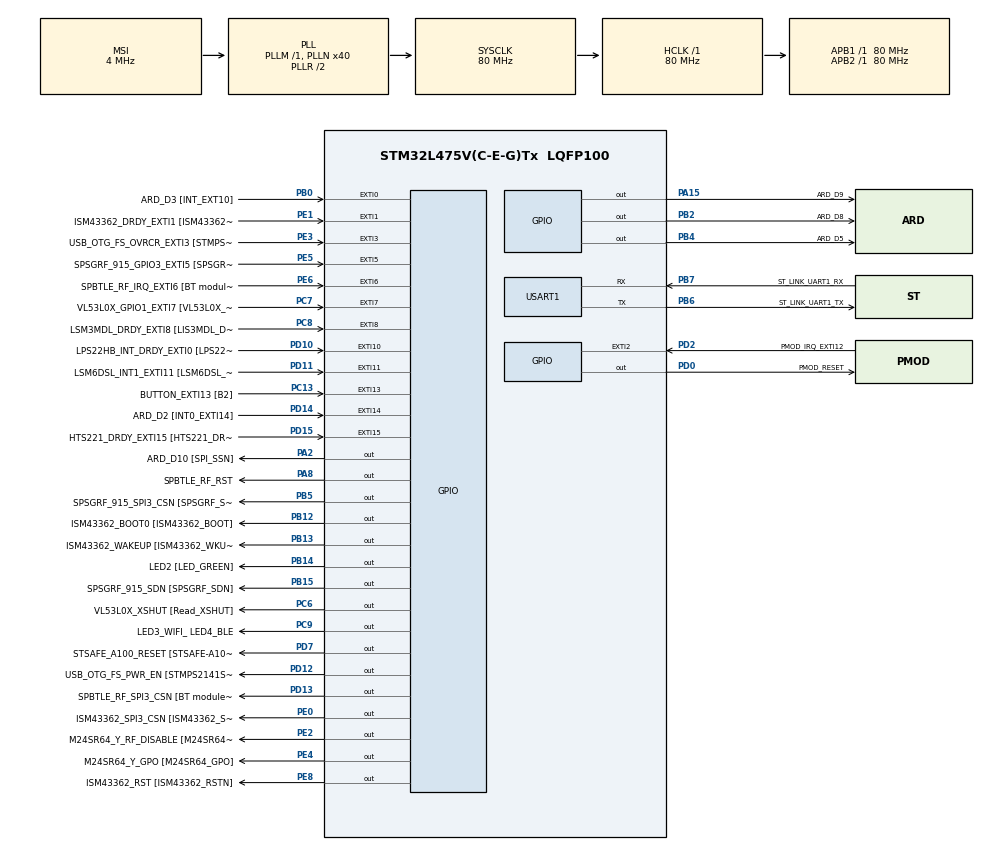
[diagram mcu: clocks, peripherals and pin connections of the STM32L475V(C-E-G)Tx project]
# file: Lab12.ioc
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FREERTOS.CountingSemaphores01=myCountingSem,5,Dynamic,NULL
FREERTOS.Tasks01=PeriodT,-1,128,PeriodThread,Default,NULL,Dynamic,NULL,NULL;Handler,1,128,HandlerThread,Default,NULL,Dynamic,NULL,NULL
FREERTOS.configUSE_COUNTING_SEMAPHORES=1
Mcu.Family=STM32L4
Mcu.Name=STM32L475V(C-E-G)Tx
Mcu.Package=LQFP100
NVIC.EXTI15_10_IRQn=true\:5\:0\:false\:false\:true\:true\:true\:true
NVIC.EXTI9_5_IRQn=true\:5\:0\:false\:false\:true\:true\:true\:true
NVIC.PriorityGroup=NVIC_PRIORITYGROUP_4
PA0.GPIO_Label=ARD_D1 [UART4_TX]
PA0.Signal=UART4_TX
PA1.GPIO_Label=ARD_D0 [UART4_RX]
PA1.Signal=UART4_RX
PA10.GPIO_Label=USB_OTG_FS_ID
PA10.Signal=USB_OTG_FS_ID
PA11.GPIO_Label=USB_OTG_FS_DM
PA11.Signal=USB_OTG_FS_DM
PA12.GPIO_Label=USB_OTG_FS_DP
PA12.Signal=USB_OTG_FS_DP
PA13\ (JTMS-SWDIO).GPIO_Label=SYS_JTMS_SWDIO
PA13\ (JTMS-SWDIO).Mode=Serial_Wire
PA13\ (JTMS-SWDIO).Signal=SYS_JTMS-SWDIO
PA14\ (JTCK-SWCLK).GPIO_Label=SYS_JTCK_SWCLK
PA14\ (JTCK-SWCLK).Mode=Serial_Wire
PA14\ (JTCK-SWCLK).Signal=SYS_JTCK-SWCLK
PA15\ (JTDI).GPIO_Label=ARD_D9
PA15\ (JTDI).Signal=GPIO_Output
PA2.GPIO_Label=ARD_D10 [SPI_SSN]
PA2.Signal=GPIO_Output
PA3.GPIO_Label=ARD_D4
PA3.Signal=S_TIM2_CH4
PA4.GPIO_Label=ARD_D7
PA4.Signal=ADCx_IN9
PA5.GPIO_Label=ARD_D13 [SPI1_SCK]
PA5.Signal=SPI1_SCK
PA6.GPIO_Label=ARD_D12 [SPI1_MISO]
PA6.Signal=SPI1_MISO
PA7.GPIO_Label=ARD_D11 [SPI1_MOSI]
PA7.Signal=SPI1_MOSI
PA8.GPIO_Label=SPBTLE_RF_RST
PA8.Signal=GPIO_Output
PA9.GPIO_Label=USB_OTG_FS_VBUS [STMPS2141STR_OUT]
PA9.Signal=USB_OTG_FS_VBUS
PB0.GPIO_Label=ARD_D3 [INT_EXT10]
PB0.Signal=GPXTI0
PB1.GPIO_Label=ARD_D6 [ADC1_IN6]
PB1.Signal=ADCx_IN16
PB10.GPIO_Label=INTERNAL_I2C2_SCL [VL53L0X_SCL]
PB10.Signal=I2C2_SCL
PB11.GPIO_Label=INTERNAL_I2C2_SDA [VL53L0X_SDA]
PB11.Signal=I2C2_SDA
PB12.GPIO_Label=ISM43362_BOOT0 [ISM43362_BOOT]
PB12.Signal=GPIO_Output
PB13.GPIO_Label=ISM43362_WAKEUP [ISM43362_WKUP]
PB13.Signal=GPIO_Output
PB14.GPIO_Label=LED2 [LED_GREEN]
PB14.Signal=GPIO_Output
PB15.GPIO_Label=SPSGRF_915_SDN [SPSGRF_SDN]
PB15.Signal=GPIO_Output
PB2.GPIO_Label=ARD_D8
PB2.Signal=GPIO_Output
PB3\ (JTDO-TRACESWO).GPIO_Label=SYS_JTD0_SWO
PB3\ (JTDO-TRACESWO).Signal=SYS_JTDO-SWO
PB4\ (NJTRST).GPIO_Label=ARD_D5
PB4\ (NJTRST).Signal=GPIO_Output
PB5.GPIO_Label=SPSGRF_915_SPI3_CSN [SPSGRF_SPI_CS]
PB5.PinState=GPIO_PIN_SET
PB5.Signal=GPIO_Output
PB6.GPIO_Label=ST_LINK_UART1_TX
PB6.Mode=Asynchronous
PB6.Signal=USART1_TX
PB7.GPIO_Label=ST_LINK_UART1_RX
PB7.Mode=Asynchronous
PB7.Signal=USART1_RX
PB8.GPIO_Label=ARD_D15 [I2C1_SCL]
PB8.Signal=I2C1_SCL
PB9.GPIO_Label=ARD_D14 [I2C1_SDA]
PB9.Signal=I2C1_SDA
PC0.GPIO_Label=ARD_A5 [ADC]
PC0.Signal=ADCx_IN1
PC1.GPIO_Label=ARD_A4 [ADC]
PC1.Signal=ADCx_IN2
PC10.GPIO_Label=INTERNAL_SPI3_SCK [BT module_SPI_SCLK] [ISM43362_SCK]
PC10.Signal=SPI3_SCK
PC11.GPIO_Label=INTERNAL_SPI3_MISO [BT module_SPI_MISO] [ISM43362_MISO]
PC11.Signal=SPI3_MISO
PC12.GPIO_Label=INTERNAL_SPI3_MOSI [BT module_SPI_MOSI] [ISM43362_MOSI]
PC12.Signal=SPI3_MOSI
PC13.GPIO_Label=BUTTON_EXTI13 [B2]
PC13.GPIO_ModeDefaultEXTI=GPIO_MODE_IT_FALLING
PC13.Signal=GPXTI13
PC14-OSC32_IN\ (PC14).Signal=RCC_OSC32_IN
PC15-OSC32_OUT\ (PC15).Signal=RCC_OSC32_OUT
PC2.GPIO_Label=ARD_A3 [ADC]
PC2.Signal=ADCx_IN3
PC3.GPIO_Label=ARD_A2 [ADC]
PC3.Signal=ADCx_IN4
PC4.GPIO_Label=ARD_A1 [ADC]
PC4.Signal=ADCx_IN13
PC5.GPIO_Label=ARD_A0 [ADC]
PC5.Signal=ADCx_IN14
PC6.GPIO_Label=VL53L0X_XSHUT [Read_XSHUT]
PC6.Signal=GPIO_Output
PC7.GPIO_Label=VL53L0X_GPIO1_EXTI7 [VL53L0X_GPIO1]
PC7.Signal=GPXTI7
PC8.GPIO_Label=LSM3MDL_DRDY_EXTI8 [LIS3MDL_DRDY]
PC8.Signal=GPXTI8
PC9.GPIO_Label=LED3_WIFI_ LED4_BLE
PC9.Signal=GPIO_Output
PD0.GPIO_Label=PMOD_RESET
PD0.Signal=GPIO_Output
PD1.GPIO_Label=PMOD_SPI2_SCK
PD1.Signal=SPI2_SCK
PD10.GPIO_Label=LPS22HB_INT_DRDY_EXTI0 [LPS22HB_INT_DRDY] 
PD10.Signal=GPXTI10
PD11.GPIO_Label=LSM6DSL_INT1_EXTI11 [LSM6DSL_INT1]
PD11.Signal=GPXTI11
PD12.GPIO_Label=USB_OTG_FS_PWR_EN [STMPS2141STR_EN]
PD12.Signal=GPIO_Output
PD13.GPIO_Label=SPBTLE_RF_SPI3_CSN [BT module_SPI_CS]
PD13.PinState=GPIO_PIN_SET
PD13.Signal=GPIO_Output
PD14.GPIO_Label=ARD_D2 [INT0_EXTI14]
PD14.Signal=GPXTI14
PD15.GPIO_Label=HTS221_DRDY_EXTI15 [HTS221_DRDY]
PD15.Signal=GPXTI15
PD2.GPIO_Label=PMOD_IRQ_EXTI12
PD2.Signal=GPXTI2
PD3.GPIO_Label=PMOD_UART2_CTS
PD3.Signal=USART2_CTS
PD4.GPIO_Label=PMOD_UART2_RTS
PD4.Signal=USART2_RTS
PD5.GPIO_Label=PMOD_UART2_TX
PD5.Signal=USART2_TX
PD6.GPIO_Label=PMOD_UART2_RX
PD6.Signal=USART2_RX
PD7.GPIO_Label=STSAFE_A100_RESET [STSAFE-A100_RESET]
PD7.Signal=GPIO_Output
PD8.GPIO_Label=INTERNAL_UART3_TX [ISM43362_RX]
PD8.Signal=USART3_TX
PD9.GPIO_Label=INTERNAL_UART3_RX [ISM43362_TX]
PD9.Signal=USART3_RX
PE0.GPIO_Label=ISM43362_SPI3_CSN [ISM43362_SSN]
PE0.PinState=GPIO_PIN_SET
PE0.Signal=GPIO_Output
PE1.GPIO_Label=ISM43362_DRDY_EXTI1 [ISM43362_DATARDY]
PE1.Signal=GPXTI1
PE10.GPIO_Label=QUADSPI_CLK [MX25R6435F_SCLK]
PE10.Signal=QUADSPI_CLK
PE11.GPIO_Label=QUADSPI_NCS [MX25R6435F_SCLK]
PE11.Signal=QUADSPI_NCS
PE12.GPIO_Label=OQUADSPI_BK1_IO0 [MX25R6435F_IO0]
PE12.Signal=QUADSPI_BK1_IO0
PE13.GPIO_Label=QUADSPI_BK1_IO1 [MX25R6435F_IO1]
PE13.Signal=QUADSPI_BK1_IO1
PE14.GPIO_Label=QUAD_SPI_BK1_IO2 [MX25R6435F_IO2]
PE14.Signal=QUADSPI_BK1_IO2
PE15.GPIO_Label=QUAD_SPI_BK1_IO3 [MX25R6435F_IO3]
PE15.Signal=QUADSPI_BK1_IO3
PE2.GPIO_Label=M24SR64_Y_RF_DISABLE [M24SR64_RFDIS]
PE2.Signal=GPIO_Output
PE3.GPIO_Label=USB_OTG_FS_OVRCR_EXTI3 [STMPS2141STR_FAULT]
PE3.Signal=GPXTI3
PE4.GPIO_Label=M24SR64_Y_GPO [M24SR64_GPO]
PE4.Signal=GPIO_Output
PE5.GPIO_Label=SPSGRF_915_GPIO3_EXTI5 [SPSGRF_GPIO_3]
PE5.Signal=GPXTI5
PE6.GPIO_Label=SPBTLE_RF_IRQ_EXTI6 [BT module_SPI_IRQ]
PE6.Signal=GPXTI6
PE7.GPIO_Label=DFSDM1_DATIN2 [MP34DT01_DOUT]
PE7.Signal=S_DATAIN2DFSDM1
PE8.GPIO_Label=ISM43362_RST [ISM43362_RSTN]
PE8.Signal=GPIO_Output
PE9.GPIO_Label=DFSDM1_CKOUT [MP34DT01_CLK]
PE9.Signal=S_CKOUTDFSDM1
ProjectManager.HeapSize=0x200
ProjectManager.StackSize=0x400
ProjectManager.TargetToolchain=MDK-ARM V5.27
RCC.ADCFreq_Value=48000000
RCC.AHBFreq_Value=80000000
RCC.APB1Freq_Value=80000000
RCC.APB1TimFreq_Value=80000000
RCC.APB2Freq_Value=80000000
RCC.APB2TimFreq_Value=80000000
RCC.CortexFreq_Value=80000000
RCC.HCLKFreq_Value=80000000
RCC.HSE_VALUE=8000000
RCC.HSI_VALUE=16000000
RCC.LSE_VALUE=32768
RCC.MSI_VALUE=4000000
RCC.PLLN=40
RCC.PLLSAI1N=24
RCC.SYSCLKFreq_VALUE=80000000
RCC.SYSCLKSource=RCC_SYSCLKSOURCE_PLLCLK
RCC.USBFreq_Value=48000000
RCC.VCOOutputFreq_Value=160000000
SH.ADCx_IN1.0=ADC1_IN1
SH.ADCx_IN13.0=ADC1_IN13
SH.ADCx_IN14.0=ADC1_IN14
SH.ADCx_IN16.0=ADC1_IN16
SH.ADCx_IN2.0=ADC1_IN2
SH.ADCx_IN3.0=ADC1_IN3
SH.ADCx_IN4.0=ADC1_IN4
SH.ADCx_IN9.0=ADC1_IN9
SH.S_CKOUTDFSDM1.0=DFSDM1_CKOUT
SH.S_DATAIN2DFSDM1.0=DFSDM1_DATIN2
SH.S_TIM2_CH4.0=TIM2_CH4
USART1.VirtualMode-Asynchronous=VM_ASYNC
VP_FREERTOS_VS_CMSIS_V1.Mode=CMSIS_V1
board=B-L475E-IOT01A1

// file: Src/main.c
/* USER CODE BEGIN Header */
/**
  ******************************************************************************
  * @file           : main.c
  * @brief          : Main program body
  ******************************************************************************
  * @attention
  *
  * <h2><center>&copy; Copyright (c) 2020 STMicroelectronics.
  * All rights reserved.</center></h2>
  *
  * This software component is licensed by ST under Ultimate Liberty license
  * SLA0044, the "License"; You may not use this file except in compliance with
  * the License. You may obtain a copy of the License at:
  *                             www.st.com/SLA0044
  *
  ******************************************************************************
  */
/* USER CODE END Header */

#include "main.h"
#include "cmsis_os.h"

/* USER CODE BEGIN Includes */
#include "stdio.h"
/* USER CODE END Includes */

UART_HandleTypeDef huart1;

osThreadId PeriodTHandle;
osThreadId HandlerHandle;
osSemaphoreId myBinarySemHandle;

void SystemClock_Config(void);
static void MX_GPIO_Init(void);
static void MX_USART1_UART_Init(void);
void PeriodThread(void const * argument);
void HandlerThread(void const * argument);

/* USER CODE BEGIN PFP */
#ifdef __GNUC__
#define PUTCHAR_PROTOTYPE int __io_putchar(int ch)
#else
#define PUTCHAR_PROTOTYPE int fputc(int ch, FILE *f)
#endif /* __GNUC__ */
/* USER CODE END PFP */

/* USER CODE BEGIN 0 */
PUTCHAR_PROTOTYPE
{
  /* e.g. write a character to the USART1 and Loop until the end of transmission */
  HAL_UART_Transmit(&huart1, (uint8_t *)&ch, 1, 0xFFFF);

  return ch;
}
/* USER CODE END 0 */

int main(void)
{

  /* MCU Configuration--------------------------------------------------------*/

  /* Reset of all peripherals, Initializes the Flash interface and the Systick. */
  HAL_Init();

  /* Configure the system clock */
  SystemClock_Config();

  /* Initialize all configured peripherals */
  MX_GPIO_Init();
  MX_USART1_UART_Init();
  /* USER CODE BEGIN 2 */
	printf("\n\rFreeRTOS Lab 12\n\r");
  /* USER CODE END 2 */

  /* Create the semaphores(s) */
  /* definition and creation of myBinarySem */
  osSemaphoreDef(myBinarySem);
  myBinarySemHandle = osSemaphoreCreate(osSemaphore(myBinarySem), 1);

  /* Create the thread(s) */
  /* definition and creation of PeriodT */
  osThreadDef(PeriodT, PeriodThread, osPriorityBelowNormal, 0, 128);
  PeriodTHandle = osThreadCreate(osThread(PeriodT), NULL);

  /* definition and creation of Handler */
  osThreadDef(Handler, HandlerThread, osPriorityAboveNormal, 0, 128);
  HandlerHandle = osThreadCreate(osThread(Handler), NULL);

  /* Start scheduler */
  osKernelStart();

  /* We should never get here as control is now taken by the scheduler */
  /* Infinite loop */
  while (1)
  {

  }
}

void SystemClock_Config(void)
{
  RCC_OscInitTypeDef RCC_OscInitStruct = {0};
  RCC_ClkInitTypeDef RCC_ClkInitStruct = {0};
  RCC_PeriphCLKInitTypeDef PeriphClkInit = {0};

  /** Initializes the CPU, AHB and APB busses clocks
  */
  RCC_OscInitStruct.OscillatorType = RCC_OSCILLATORTYPE_MSI;
  RCC_OscInitStruct.MSIState = RCC_MSI_ON;
  RCC_OscInitStruct.MSICalibrationValue = 0;
  RCC_OscInitStruct.MSIClockRange = RCC_MSIRANGE_6;
  RCC_OscInitStruct.PLL.PLLState = RCC_PLL_ON;
  RCC_OscInitStruct.PLL.PLLSource = RCC_PLLSOURCE_MSI;
  RCC_OscInitStruct.PLL.PLLM = 1;
  RCC_OscInitStruct.PLL.PLLN = 40;
  RCC_OscInitStruct.PLL.PLLP = RCC_PLLP_DIV7;
  RCC_OscInitStruct.PLL.PLLQ = RCC_PLLQ_DIV2;
  RCC_OscInitStruct.PLL.PLLR = RCC_PLLR_DIV2;
  if (HAL_RCC_OscConfig(&RCC_OscInitStruct) != HAL_OK)
  {
    Error_Handler();
  }
  /** Initializes the CPU, AHB and APB busses clocks
  */
  RCC_ClkInitStruct.ClockType = RCC_CLOCKTYPE_HCLK|RCC_CLOCKTYPE_SYSCLK
                              |RCC_CLOCKTYPE_PCLK1|RCC_CLOCKTYPE_PCLK2;
  RCC_ClkInitStruct.SYSCLKSource = RCC_SYSCLKSOURCE_PLLCLK;
  RCC_ClkInitStruct.AHBCLKDivider = RCC_SYSCLK_DIV1;
  RCC_ClkInitStruct.APB1CLKDivider = RCC_HCLK_DIV1;
  RCC_ClkInitStruct.APB2CLKDivider = RCC_HCLK_DIV1;

  if (HAL_RCC_ClockConfig(&RCC_ClkInitStruct, FLASH_LATENCY_4) != HAL_OK)
  {
    Error_Handler();
  }
  PeriphClkInit.PeriphClockSelection = RCC_PERIPHCLK_USART1;
  PeriphClkInit.Usart1ClockSelection = RCC_USART1CLKSOURCE_PCLK2;
  if (HAL_RCCEx_PeriphCLKConfig(&PeriphClkInit) != HAL_OK)
  {
    Error_Handler();
  }
  /** Configure the main internal regulator output voltage
  */
  if (HAL_PWREx_ControlVoltageScaling(PWR_REGULATOR_VOLTAGE_SCALE1) != HAL_OK)
  {
    Error_Handler();
  }
}

static void MX_USART1_UART_Init(void)
{

  huart1.Instance = USART1;
  huart1.Init.BaudRate = 115200;
  huart1.Init.WordLength = UART_WORDLENGTH_8B;
  huart1.Init.StopBits = UART_STOPBITS_1;
  huart1.Init.Parity = UART_PARITY_NONE;
  huart1.Init.Mode = UART_MODE_TX_RX;
  huart1.Init.HwFlowCtl = UART_HWCONTROL_NONE;
  huart1.Init.OverSampling = UART_OVERSAMPLING_16;
  huart1.Init.OneBitSampling = UART_ONE_BIT_SAMPLE_DISABLE;
  huart1.AdvancedInit.AdvFeatureInit = UART_ADVFEATURE_NO_INIT;
  if (HAL_UART_Init(&huart1) != HAL_OK)
  {
    Error_Handler();
  }

}

static void MX_GPIO_Init(void)
{
  GPIO_InitTypeDef GPIO_InitStruct = {0};

  /* GPIO Ports Clock Enable */
  __HAL_RCC_GPIOE_CLK_ENABLE();
  __HAL_RCC_GPIOC_CLK_ENABLE();
  __HAL_RCC_GPIOA_CLK_ENABLE();
  __HAL_RCC_GPIOB_CLK_ENABLE();
  __HAL_RCC_GPIOD_CLK_ENABLE();

  /*Configure GPIO pin Output Level */
  HAL_GPIO_WritePin(GPIOE, M24SR64_Y_RF_DISABLE_Pin|M24SR64_Y_GPO_Pin|ISM43362_RST_Pin, GPIO_PIN_RESET);

  /*Configure GPIO pin Output Level */
  HAL_GPIO_WritePin(GPIOA, ARD_D10_Pin|SPBTLE_RF_RST_Pin|ARD_D9_Pin, GPIO_PIN_RESET);

  /*Configure GPIO pin Output Level */
  HAL_GPIO_WritePin(GPIOB, ARD_D8_Pin|ISM43362_BOOT0_Pin|ISM43362_WAKEUP_Pin|LED2_Pin
                          |SPSGRF_915_SDN_Pin|ARD_D5_Pin, GPIO_PIN_RESET);

  /*Configure GPIO pin Output Level */
  HAL_GPIO_WritePin(GPIOD, USB_OTG_FS_PWR_EN_Pin|PMOD_RESET_Pin|STSAFE_A100_RESET_Pin, GPIO_PIN_RESET);

  /*Configure GPIO pin Output Level */
  HAL_GPIO_WritePin(SPBTLE_RF_SPI3_CSN_GPIO_Port, SPBTLE_RF_SPI3_CSN_Pin, GPIO_PIN_SET);

  /*Configure GPIO pin Output Level */
  HAL_GPIO_WritePin(GPIOC, VL53L0X_XSHUT_Pin|LED3_WIFI__LED4_BLE_Pin, GPIO_PIN_RESET);

  /*Configure GPIO pin Output Level */
  HAL_GPIO_WritePin(SPSGRF_915_SPI3_CSN_GPIO_Port, SPSGRF_915_SPI3_CSN_Pin, GPIO_PIN_SET);

  /*Configure GPIO pin Output Level */
  HAL_GPIO_WritePin(ISM43362_SPI3_CSN_GPIO_Port, ISM43362_SPI3_CSN_Pin, GPIO_PIN_SET);

  /*Configure GPIO pins : M24SR64_Y_RF_DISABLE_Pin M24SR64_Y_GPO_Pin ISM43362_RST_Pin ISM43362_SPI3_CSN_Pin */
  GPIO_InitStruct.Pin = M24SR64_Y_RF_DISABLE_Pin|M24SR64_Y_GPO_Pin|ISM43362_RST_Pin|ISM43362_SPI3_CSN_Pin;
  GPIO_InitStruct.Mode = GPIO_MODE_OUTPUT_PP;
  GPIO_InitStruct.Pull = GPIO_NOPULL;
  GPIO_InitStruct.Speed = GPIO_SPEED_FREQ_LOW;
  HAL_GPIO_Init(GPIOE, &GPIO_InitStruct);

  /*Configure GPIO pins : USB_OTG_FS_OVRCR_EXTI3_Pin SPSGRF_915_GPIO3_EXTI5_Pin SPBTLE_RF_IRQ_EXTI6_Pin ISM43362_DRDY_EXTI1_Pin */
  GPIO_InitStruct.Pin = USB_OTG_FS_OVRCR_EXTI3_Pin|SPSGRF_915_GPIO3_EXTI5_Pin|SPBTLE_RF_IRQ_EXTI6_Pin|ISM43362_DRDY_EXTI1_Pin;
  GPIO_InitStruct.Mode = GPIO_MODE_IT_RISING;
  GPIO_InitStruct.Pull = GPIO_NOPULL;
  HAL_GPIO_Init(GPIOE, &GPIO_InitStruct);

  /*Configure GPIO pin : BUTTON_EXTI13_Pin */
  GPIO_InitStruct.Pin = BUTTON_EXTI13_Pin;
  GPIO_InitStruct.Mode = GPIO_MODE_IT_FALLING;
  GPIO_InitStruct.Pull = GPIO_NOPULL;
  HAL_GPIO_Init(BUTTON_EXTI13_GPIO_Port, &GPIO_InitStruct);

  /*Configure GPIO pins : ARD_A5_Pin ARD_A4_Pin ARD_A3_Pin ARD_A2_Pin
                           ARD_A1_Pin ARD_A0_Pin */
  GPIO_InitStruct.Pin = ARD_A5_Pin|ARD_A4_Pin|ARD_A3_Pin|ARD_A2_Pin
                          |ARD_A1_Pin|ARD_A0_Pin;
  GPIO_InitStruct.Mode = GPIO_MODE_ANALOG_ADC_CONTROL;
  GPIO_InitStruct.Pull = GPIO_NOPULL;
  HAL_GPIO_Init(GPIOC, &GPIO_InitStruct);

  /*Configure GPIO pins : ARD_D1_Pin ARD_D0_Pin */
  GPIO_InitStruct.Pin = ARD_D1_Pin|ARD_D0_Pin;
  GPIO_InitStruct.Mode = GPIO_MODE_AF_PP;
  GPIO_InitStruct.Pull = GPIO_NOPULL;
  GPIO_InitStruct.Speed = GPIO_SPEED_FREQ_VERY_HIGH;
  GPIO_InitStruct.Alternate = GPIO_AF8_UART4;
  HAL_GPIO_Init(GPIOA, &GPIO_InitStruct);

  /*Configure GPIO pins : ARD_D10_Pin SPBTLE_RF_RST_Pin ARD_D9_Pin */
  GPIO_InitStruct.Pin = ARD_D10_Pin|SPBTLE_RF_RST_Pin|ARD_D9_Pin;
  GPIO_InitStruct.Mode = GPIO_MODE_OUTPUT_PP;
  GPIO_InitStruct.Pull = GPIO_NOPULL;
  GPIO_InitStruct.Speed = GPIO_SPEED_FREQ_LOW;
  HAL_GPIO_Init(GPIOA, &GPIO_InitStruct);

  /*Configure GPIO pin : ARD_D4_Pin */
  GPIO_InitStruct.Pin = ARD_D4_Pin;
  GPIO_InitStruct.Mode = GPIO_MODE_AF_PP;
  GPIO_InitStruct.Pull = GPIO_NOPULL;
  GPIO_InitStruct.Speed = GPIO_SPEED_FREQ_LOW;
  GPIO_InitStruct.Alternate = GPIO_AF1_TIM2;
  HAL_GPIO_Init(ARD_D4_GPIO_Port, &GPIO_InitStruct);

  /*Configure GPIO pin : ARD_D7_Pin */
  GPIO_InitStruct.Pin = ARD_D7_Pin;
  GPIO_InitStruct.Mode = GPIO_MODE_ANALOG_ADC_CONTROL;
  GPIO_InitStruct.Pull = GPIO_NOPULL;
  HAL_GPIO_Init(ARD_D7_GPIO_Port, &GPIO_InitStruct);

  /*Configure GPIO pins : ARD_D13_Pin ARD_D12_Pin ARD_D11_Pin */
  GPIO_InitStruct.Pin = ARD_D13_Pin|ARD_D12_Pin|ARD_D11_Pin;
  GPIO_InitStruct.Mode = GPIO_MODE_AF_PP;
  GPIO_InitStruct.Pull = GPIO_NOPULL;
  GPIO_InitStruct.Speed = GPIO_SPEED_FREQ_VERY_HIGH;
  GPIO_InitStruct.Alternate = GPIO_AF5_SPI1;
  HAL_GPIO_Init(GPIOA, &GPIO_InitStruct);

  /*Configure GPIO pin : ARD_D3_Pin */
  GPIO_InitStruct.Pin = ARD_D3_Pin;
  GPIO_InitStruct.Mode = GPIO_MODE_IT_RISING;
  GPIO_InitStruct.Pull = GPIO_NOPULL;
  HAL_GPIO_Init(ARD_D3_GPIO_Port, &GPIO_InitStruct);

  /*Configure GPIO pin : ARD_D6_Pin */
  GPIO_InitStruct.Pin = ARD_D6_Pin;
  GPIO_InitStruct.Mode = GPIO_MODE_ANALOG_ADC_CONTROL;
  GPIO_InitStruct.Pull = GPIO_NOPULL;
  HAL_GPIO_Init(ARD_D6_GPIO_Port, &GPIO_InitStruct);

  /*Configure GPIO pins : ARD_D8_Pin ISM43362_BOOT0_Pin ISM43362_WAKEUP_Pin LED2_Pin
                           SPSGRF_915_SDN_Pin ARD_D5_Pin SPSGRF_915_SPI3_CSN_Pin */
  GPIO_InitStruct.Pin = ARD_D8_Pin|ISM43362_BOOT0_Pin|ISM43362_WAKEUP_Pin|LED2_Pin
                          |SPSGRF_915_SDN_Pin|ARD_D5_Pin|SPSGRF_915_SPI3_CSN_Pin;
  GPIO_InitStruct.Mode = GPIO_MODE_OUTPUT_PP;
  GPIO_InitStruct.Pull = GPIO_NOPULL;
  GPIO_InitStruct.Speed = GPIO_SPEED_FREQ_LOW;
  HAL_GPIO_Init(GPIOB, &GPIO_InitStruct);

  /*Configure GPIO pins : DFSDM1_DATIN2_Pin DFSDM1_CKOUT_Pin */
  GPIO_InitStruct.Pin = DFSDM1_DATIN2_Pin|DFSDM1_CKOUT_Pin;
  GPIO_InitStruct.Mode = GPIO_MODE_AF_PP;
  GPIO_InitStruct.Pull = GPIO_NOPULL;
  GPIO_InitStruct.Speed = GPIO_SPEED_FREQ_LOW;
  GPIO_InitStruct.Alternate = GPIO_AF6_DFSDM1;
  HAL_GPIO_Init(GPIOE, &GPIO_InitStruct);

  /*Configure GPIO pins : QUADSPI_CLK_Pin QUADSPI_NCS_Pin OQUADSPI_BK1_IO0_Pin QUADSPI_BK1_IO1_Pin
                           QUAD_SPI_BK1_IO2_Pin QUAD_SPI_BK1_IO3_Pin */
  GPIO_InitStruct.Pin = QUADSPI_CLK_Pin|QUADSPI_NCS_Pin|OQUADSPI_BK1_IO0_Pin|QUADSPI_BK1_IO1_Pin
                          |QUAD_SPI_BK1_IO2_Pin|QUAD_SPI_BK1_IO3_Pin;
  GPIO_InitStruct.Mode = GPIO_MODE_AF_PP;
  GPIO_InitStruct.Pull = GPIO_NOPULL;
  GPIO_InitStruct.Speed = GPIO_SPEED_FREQ_VERY_HIGH;
  GPIO_InitStruct.Alternate = GPIO_AF10_QUADSPI;
  HAL_GPIO_Init(GPIOE, &GPIO_InitStruct);

  /*Configure GPIO pins : INTERNAL_I2C2_SCL_Pin INTERNAL_I2C2_SDA_Pin */
  GPIO_InitStruct.Pin = INTERNAL_I2C2_SCL_Pin|INTERNAL_I2C2_SDA_Pin;
  GPIO_InitStruct.Mode = GPIO_MODE_AF_OD;
  GPIO_InitStruct.Pull = GPIO_PULLUP;
  GPIO_InitStruct.Speed = GPIO_SPEED_FREQ_VERY_HIGH;
  GPIO_InitStruct.Alternate = GPIO_AF4_I2C2;
  HAL_GPIO_Init(GPIOB, &GPIO_InitStruct);

  /*Configure GPIO pins : INTERNAL_UART3_TX_Pin INTERNAL_UART3_RX_Pin */
  GPIO_InitStruct.Pin = INTERNAL_UART3_TX_Pin|INTERNAL_UART3_RX_Pin;
  GPIO_InitStruct.Mode = GPIO_MODE_AF_PP;
  GPIO_InitStruct.Pull = GPIO_NOPULL;
  GPIO_InitStruct.Speed = GPIO_SPEED_FREQ_VERY_HIGH;
  GPIO_InitStruct.Alternate = GPIO_AF7_USART3;
  HAL_GPIO_Init(GPIOD, &GPIO_InitStruct);

  /*Configure GPIO pins : LPS22HB_INT_DRDY_EXTI0_Pin LSM6DSL_INT1_EXTI11_Pin ARD_D2_Pin HTS221_DRDY_EXTI15_Pin
                           PMOD_IRQ_EXTI12_Pin */
  GPIO_InitStruct.Pin = LPS22HB_INT_DRDY_EXTI0_Pin|LSM6DSL_INT1_EXTI11_Pin|ARD_D2_Pin|HTS221_DRDY_EXTI15_Pin
                          |PMOD_IRQ_EXTI12_Pin;
  GPIO_InitStruct.Mode = GPIO_MODE_IT_RISING;
  GPIO_InitStruct.Pull = GPIO_NOPULL;
  HAL_GPIO_Init(GPIOD, &GPIO_InitStruct);

  /*Configure GPIO pins : USB_OTG_FS_PWR_EN_Pin SPBTLE_RF_SPI3_CSN_Pin PMOD_RESET_Pin STSAFE_A100_RESET_Pin */
  GPIO_InitStruct.Pin = USB_OTG_FS_PWR_EN_Pin|SPBTLE_RF_SPI3_CSN_Pin|PMOD_RESET_Pin|STSAFE_A100_RESET_Pin;
  GPIO_InitStruct.Mode = GPIO_MODE_OUTPUT_PP;
  GPIO_InitStruct.Pull = GPIO_NOPULL;
  GPIO_InitStruct.Speed = GPIO_SPEED_FREQ_LOW;
  HAL_GPIO_Init(GPIOD, &GPIO_InitStruct);

  /*Configure GPIO pins : VL53L0X_XSHUT_Pin LED3_WIFI__LED4_BLE_Pin */
  GPIO_InitStruct.Pin = VL53L0X_XSHUT_Pin|LED3_WIFI__LED4_BLE_Pin;
  GPIO_InitStruct.Mode = GPIO_MODE_OUTPUT_PP;
  GPIO_InitStruct.Pull = GPIO_NOPULL;
  GPIO_InitStruct.Speed = GPIO_SPEED_FREQ_LOW;
  HAL_GPIO_Init(GPIOC, &GPIO_InitStruct);

  /*Configure GPIO pins : VL53L0X_GPIO1_EXTI7_Pin LSM3MDL_DRDY_EXTI8_Pin */
  GPIO_InitStruct.Pin = VL53L0X_GPIO1_EXTI7_Pin|LSM3MDL_DRDY_EXTI8_Pin;
  GPIO_InitStruct.Mode = GPIO_MODE_IT_RISING;
  GPIO_InitStruct.Pull = GPIO_NOPULL;
  HAL_GPIO_Init(GPIOC, &GPIO_InitStruct);

  /*Configure GPIO pin : USB_OTG_FS_VBUS_Pin */
  GPIO_InitStruct.Pin = USB_OTG_FS_VBUS_Pin;
  GPIO_InitStruct.Mode = GPIO_MODE_INPUT;
  GPIO_InitStruct.Pull = GPIO_NOPULL;
  HAL_GPIO_Init(USB_OTG_FS_VBUS_GPIO_Port, &GPIO_InitStruct);

  /*Configure GPIO pins : USB_OTG_FS_ID_Pin USB_OTG_FS_DM_Pin USB_OTG_FS_DP_Pin */
  GPIO_InitStruct.Pin = USB_OTG_FS_ID_Pin|USB_OTG_FS_DM_Pin|USB_OTG_FS_DP_Pin;
  GPIO_InitStruct.Mode = GPIO_MODE_AF_PP;
  GPIO_InitStruct.Pull = GPIO_NOPULL;
  GPIO_InitStruct.Speed = GPIO_SPEED_FREQ_VERY_HIGH;
  GPIO_InitStruct.Alternate = GPIO_AF10_OTG_FS;
  HAL_GPIO_Init(GPIOA, &GPIO_InitStruct);

  /*Configure GPIO pins : INTERNAL_SPI3_SCK_Pin INTERNAL_SPI3_MISO_Pin INTERNAL_SPI3_MOSI_Pin */
  GPIO_InitStruct.Pin = INTERNAL_SPI3_SCK_Pin|INTERNAL_SPI3_MISO_Pin|INTERNAL_SPI3_MOSI_Pin;
  GPIO_InitStruct.Mode = GPIO_MODE_AF_PP;
  GPIO_InitStruct.Pull = GPIO_NOPULL;
  GPIO_InitStruct.Speed = GPIO_SPEED_FREQ_VERY_HIGH;
  GPIO_InitStruct.Alternate = GPIO_AF6_SPI3;
  HAL_GPIO_Init(GPIOC, &GPIO_InitStruct);

  /*Configure GPIO pin : PMOD_SPI2_SCK_Pin */
  GPIO_InitStruct.Pin = PMOD_SPI2_SCK_Pin;
  GPIO_InitStruct.Mode = GPIO_MODE_AF_PP;
  GPIO_InitStruct.Pull = GPIO_NOPULL;
  GPIO_InitStruct.Speed = GPIO_SPEED_FREQ_VERY_HIGH;
  GPIO_InitStruct.Alternate = GPIO_AF5_SPI2;
  HAL_GPIO_Init(PMOD_SPI2_SCK_GPIO_Port, &GPIO_InitStruct);

  /*Configure GPIO pins : PMOD_UART2_CTS_Pin PMOD_UART2_RTS_Pin PMOD_UART2_TX_Pin PMOD_UART2_RX_Pin */
  GPIO_InitStruct.Pin = PMOD_UART2_CTS_Pin|PMOD_UART2_RTS_Pin|PMOD_UART2_TX_Pin|PMOD_UART2_RX_Pin;
  GPIO_InitStruct.Mode = GPIO_MODE_AF_PP;
  GPIO_InitStruct.Pull = GPIO_NOPULL;
  GPIO_InitStruct.Speed = GPIO_SPEED_FREQ_VERY_HIGH;
  GPIO_InitStruct.Alternate = GPIO_AF7_USART2;
  HAL_GPIO_Init(GPIOD, &GPIO_InitStruct);

  /*Configure GPIO pins : ARD_D15_Pin ARD_D14_Pin */
  GPIO_InitStruct.Pin = ARD_D15_Pin|ARD_D14_Pin;
  GPIO_InitStruct.Mode = GPIO_MODE_AF_OD;
  GPIO_InitStruct.Pull = GPIO_PULLUP;
  GPIO_InitStruct.Speed = GPIO_SPEED_FREQ_VERY_HIGH;
  GPIO_InitStruct.Alternate = GPIO_AF4_I2C1;
  HAL_GPIO_Init(GPIOB, &GPIO_InitStruct);

  /* EXTI interrupt init*/
  HAL_NVIC_SetPriority(EXTI9_5_IRQn, 5, 0);
  HAL_NVIC_EnableIRQ(EXTI9_5_IRQn);

  HAL_NVIC_SetPriority(EXTI15_10_IRQn, 5, 0);
  HAL_NVIC_EnableIRQ(EXTI15_10_IRQn);

}

/* USER CODE BEGIN 4 */
void HAL_GPIO_EXTI_Callback(uint16_t GPIO_PIN)
{
	if (GPIO_PIN == GPIO_PIN_13)
	{
		printf("\n\rUser Button pressed. Interrupt: - to give a Semaphore.\n\r");

		osSemaphoreRelease(myBinarySemHandle);
	}
}
/* USER CODE END 4 */

void PeriodThread(void const * argument)
{
  /* USER CODE BEGIN 5 */
  /* Infinite loop */
  for(;;)
  {
    osDelay(1000);
		printf("\n\rPeriodic thread - Press user button to generate interrupt.\n\r");
  }
  /* USER CODE END 5 */
}

void HandlerThread(void const * argument)
{
  /* USER CODE BEGIN HandlerThread */
	osSemaphoreWait(myBinarySemHandle, 0);
  /* Infinite loop */
  for(;;)
  {
    osSemaphoreWait(myBinarySemHandle, osWaitForever);
		printf("\n\rHandler thread - Semaphore taken.\n\r");

		printf("\n\rHandler thread - Processing event.\n\r");
  }
  /* USER CODE END HandlerThread */
}

void Error_Handler(void)
{
}

/************************ (C) COPYRIGHT STMicroelectronics *****END OF FILE****/
